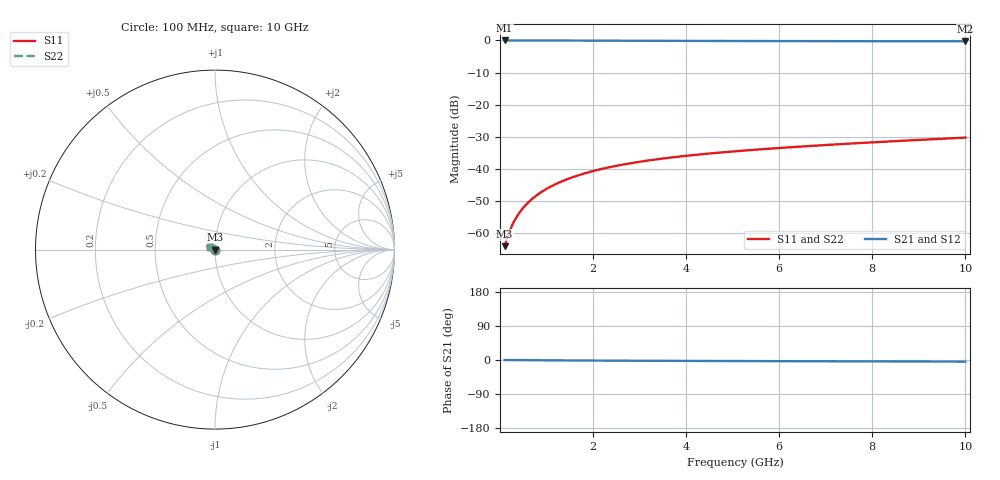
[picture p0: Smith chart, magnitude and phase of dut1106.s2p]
! Touchstone file exported from HFSS 2024.1.0
!  File:  C:/UserFiles/LocalFiles/RDL_TSV_Batchsim/temp_TSV1_1106_1780067696.aedt
!  Generated:  11:20:37 PM May 29, 2026
!  Design:  TSV1
!  Project:  temp_TSV1_1106_1780067696
!  Setup:  Setup1
!  Solution:  Sweep
! Variables:
!  dtsv = 5.54um
!  hbump = 3um
!  htsv = 62.29um
!  lrdl = 252.1521522um
!  p = 40
!  p1 = 45.73um
!  t = 500um
!  trdl = 3um
!  wrdl = 24.89489489um
# GHz S MA R 50.000000
! Terminal data exported
! Port[1] = TSV22_T1
! Port[2] = TSV22_T2
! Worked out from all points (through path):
!   100 points, 100 MHz to 10 GHz, reference 50 ohm
!   highest |S21| = 0.00 dB at 100 MHz (marker M1); lowest = -0.3 dB at 10 GHz (marker M2)
!   lowest |S11| = -64.1 dB at 100 MHz (marker M3), VSWR 1.00, Z = 50 - j0.05 ohm
!   |S11| at or under -10 dB: start of sweep to end of sweep
!   |S22| runs from -64.1 to -30.3 dB; largest |S21 - S12| = 4.2e-15
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0.1  0.000623 -53.4  0.9996 -0.1  0.9996 -0.1  0.000623 -53.4
! Gamma 0 0 0 0
! Port Impedance 50 0 50 0
0.2  0.001047 -72.8  0.9995 -0.2  0.9995 -0.2  0.001047 -72.8
0.3  0.001511 -82.1  0.9994 -0.2  0.9994 -0.2  0.001511 -82.1
0.4  0.00199 -87.9  0.9993 -0.3  0.9993 -0.3  0.00199 -87.9
0.5  0.002473 -92.3  0.9991 -0.4  0.9991 -0.4  0.002473 -92.3
0.6  0.002957 -95.9  0.9989 -0.5  0.9989 -0.5  0.002957 -95.9
0.7  0.003439 -99.1  0.9986 -0.6  0.9986 -0.6  0.003439 -99.1
0.8  0.003918 -101.9  0.9983 -0.6  0.9983 -0.6  0.003918 -101.9
0.9  0.004393 -104.6  0.998 -0.7  0.998 -0.7  0.004393 -104.6
1.1  0.005328 -109.5  0.9973 -0.9  0.9973 -0.9  0.005328 -109.6
1.4  0.006686 -116.4  0.9961 -1.1  0.9961 -1.1  0.006686 -116.4
1.6  0.007557 -120.6  0.9952 -1.2  0.9952 -1.2  0.007557 -120.6
1.8  0.0084 -124.7  0.9943 -1.3  0.9943 -1.3  0.0084 -124.7
2.1  0.009609 -130.5  0.9928 -1.5  0.9928 -1.5  0.009609 -130.5
2.5  0.01112 -137.8  0.9908 -1.8  0.9908 -1.8  0.01112 -137.8
2.9  0.01252 -144.6  0.9887 -2.0  0.9887 -2.0  0.01252 -144.6
3.4  0.01414 -152.4  0.9863 -2.2  0.9863 -2.2  0.01414 -152.4
4.2  0.01648 -163.5  0.9828 -2.5  0.9828 -2.5  0.01648 -163.5
5.1  0.01886 -174.3  0.9795 -2.8  0.9795 -2.8  0.01886 -174.3
6.7  0.02276 170.4  0.9752 -3.3  0.9752 -3.3  0.02276 170.4
8.4  0.02677 157.9  0.9721 -3.8  0.9721 -3.8  0.02677 157.9
10  0.0306 148.7  0.97 -4.3  0.97 -4.3  0.0306 148.7
